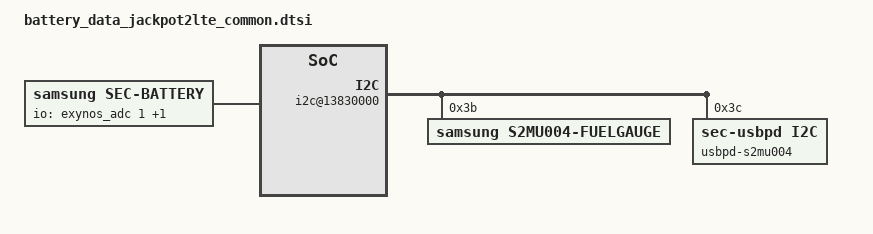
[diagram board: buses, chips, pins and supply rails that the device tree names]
/*
 * Jackpot2 Battery parameters device tree file for board IDs 04 and higher
 *
 * Copyright (C) 2017 Samsung Electronics, Inc.
 *
 * This program is free software; you can redistribute it and/or
 * modify it under the terms of the GNU General Public License
 * as published by the Free Software Foundation; either version 2
 * of the License, or (at your option) any later version.
 *
 * This program is distributed in the hope that it will be useful,
 * but WITHOUT ANY WARRANTY; without even the implied warranty of
 * MERCHANTABILITY or FITNESS FOR A PARTICULAR PURPOSE.  See the
 * GNU General Public License for more details.
 *
 * You should have received a copy of the GNU General Public License
 * along with this program. If not, see <http://www.gnu.org/licenses/>.
 *
 */

/ {
	pinctrl@11CB0000 {
		fuel_irq: fuel-irq {
			samsung,pins = "gpa2-4";
			samsung,pin-function = <0>;
			samsung,pin-pud = <2>;
			samsung,pin-drv = <0>;
		};

		if_pmic_irq: if-pmic-irq {
			samsung,pins = "gpa2-2";
			samsung,pin-function = <0>;
			samsung,pin-pud = <0>;
			samsung,pin-drv = <0>;
		};

		usbpd_irq: usbpd-irq {
			samsung,pins = "gpa2-3";
			samsung,pin-function = <0x0f>;
			samsung,pin-pud = <0>;
			samsung,pin-drv = <0>;
		};
	};

	i2c@13830000 {
		i2c-gpio,delay-us = <5>;
		status = "okay";
		s2mu004-fuelgauge@3B {
			compatible = "samsung,s2mu004-fuelgauge";
			reg = <0x3B>;
			pinctrl-names = "default";
			pinctrl-0 = <&fuel_irq>;
			fuelgauge,fuel_int = <&gpa2 4 0>;
			fuelgauge,fuel_alert_soc = <1>;
			fuelgauge,fuel_alert_vol = <3300>;
			fuelgauge,low_temp_limit = <100>;
			fuelgauge,sw_vbat_l_recovery_vol = <3465>;
			fuelgauge,capacity_max = <1000>;
			fuelgauge,capacity_max_margin = <200>;
			fuelgauge,capacity_min = <0>;
			fuelgauge,capacity_calculation_type = <28>;
			fuelgauge,capacity_full = <3500>;
			fuelgauge,type_str = "SDI";
			fuelgauge,model_type = <1>;
			fuelgauge,fg_log_enable = <1>;
		};

		usbpd-s2mu004@3C {
			compatible = "sec-usbpd,i2c";
			reg = <0x3C>;
			pinctrl-names = "default";
			pinctrl-0     = <&usbpd_irq>;
			usbpd,usbpd_int = <&gpa2 3 0>;
		};
	};

	battery_params {
			battery,battery_data =
				<
				/***** battery data for 4.35 *****/
				/* battery,battery_table3 */
				141 11 1 11 117 10 234 9 117 9
				8 9 160 8 48 8 196 7 140 7 51
				7 215 6 160 6 119 6 88 6 63 6
				36 6 252 5 198 5 149 5 255 4
				153 1 240 8 129 8 19 8 164 7
				53 7 199 6 88 6 233 5 123 5
				12 5 157 4 47 4 192 3 81 3
				227 2 116 2 5 2 151 1 40 1
				185 0 75 0 220 15

				/* battery,battery_table4 */
				52 52 52 52 52 52 51 52 52 51
				51 51 52 52 54 54 56 58 61 68
				79 138

				/* battery,batcap */
				0xC8 0x32 0xB2 0x0C /* [0x0E] [0x0F] [0x10] [0x11] */
				/* battery,accum */
				0x8 0x05 /* [0x45] [0x44] */

				/* battery,soc_arr_val */
				11172 10631 10091 9551 9010 8470 7930 7389 6848	6309 
				5768 5228 4688 4147 3607 3066 2526 1986 1446 905 
				365 (-175)

				/* battery,ocv_arr_val */
				44438 43755 43072 42394 41823 41287 40781 40236	39707 39432
				38999 38552 38279 38083 37930 37808	37675 37483 37218 36976
				36245 31999

				/***** battery data for 4.33 *****/
				/* battery,battery_table3 */
				172 11 27 11 138 10 250 9 130 9
				18 9 169 8 65 8 200 7 144 7
				57 7 220 6 161 6 120 6 88 6
				64 6 37 6 0 6 203 5 151 5
				58 5 182 1 226 8 115 8 5 8
				150 7 39 7 185 6 74 6 220 5
				109 5 255 4 144 4 33 4 179 3
				68 3 214 2 103 2 249 1 138 1
				27 1 173 0 62 0 208 15

				/* battery,battery_table4 */
				53 53 53 53 53 53 52 53 53 52
				52 52 53 53 54 55 55 57 60 64
				75 154

				/* battery,batcap */
				0x18 0x33 0xC6 0x0C /* [0x0E] [0x0F] [0x10] [0x11] */
				/* battery,accum */
				0x7 0xCA /* [0x45] [0x44] */

				/* battery,soc_arr_val */
				11103 10563 10023 9483 8943 8403 7863 7322 6783 6243
				5703 5163 4624 4084 3544 3004 2464 1923 1384 844
				304 (-236)
				/* battery,ocv_arr_val */
				44589 43881 43172 42471 41887 41338 40824 40317 39729 39454
				39029 38575 38284 38084 37931 37813 37680 37498 37243 36986
				36533 32140
		
				/***** battery data for 4.31 *****/
				/* battery,battery_table3 */
				172 11 27 11 138 10 250 9 130 9
				18 9 169 8 65 8 200 7 144 7
				57 7 220 6 161 6 120 6 88 6
				64 6 37 6 0 6 203 5 150 5
				58 5 182 1 4 9 148 8 36 8
				179 7 67 7 211 6 99 6 242 5
				130 5 18 5 162 4 49 4 193 3
				81 3 225 2 112 2 0 2 144 1
				32 1 175 0 63 0 207 15

				/* battery,battery_table4 */
				53 53 53 53 53 53 52 53 53 52
				52 52 53 53 54 55 55 57 60 64
				75 154

				/* battery,batcap */
				0x64 0x32 0x99 0x0C /* [0x0E] [0x0F] [0x10] [0x11] */
				/* battery,accum */
				0x7 0xCA /* [0x45] [0x44] */

				/* battery,soc_arr_val */
				11270 10722 10174 9626 9078 8530 7982 7433 6885 6337
				5789 5241 4693 4145 3597 3049 2500 1952 1404 856
				308 (-240)
				/* battery,ocv_arr_val */
				44589 43881 43173 42472 41887 41337 40824 40317 39729 39454
				39029 38575 38284 38084 37931 37813 37680 37498 37243 36985
				36532 32140

				/***** battery data for 4.29 *****/
				/* battery,battery_table3 */
				172 11 27 11 137 10 250 9 130 9
				18 9 169 8 65 8 200 7 144 7
				57 7 220 6 161 6 120 6 88 6
				64 6 37 6 0 6 203 5 151 5
				58 5 182 1 39 9 181 8 67 8
				209 7 95 7 237 6 123 6 10 6
				152 5 38 5 180 4 66 4 208 3
				94 3 236 2 122 2 8 2 150 1
				36 1 178 0 64 0 206 15

				/* battery,battery_table4 */
				53 53 53 53 53 53 52 53 53 52
				52 52 53 53 54 55 55 57 60 64
				75 154

				/* battery,batcap */
				0xB0 0x31 0x6C 0x0C /* [0x0E] [0x0F] [0x10] [0x11] */
				/* battery,accum */
				0x7 0xCA /* [0x45] [0x44] */

				/* battery,soc_arr_val */
				11440 10885 10329 9772 9216 8659 8103 7547 6990 6434
				5877 5321 4765 4208 3652 3095 2539 1983 1426 869
				313 (-243)

				/* battery,ocv_arr_val */
				44591 43881 43171 42471 41886 41337 40824 40317 39729 39454
				39029 38575 38284 38084 37931 37813 37680 37498 37243 36986
				36533 32140

				/***** battery data for 4.24 *****/
				/* battery,battery_table3 */
				172 11 27 11 137 10 250 9 130 9
				18 9 169 8 65 8 200 7 144 7
				57 7 220 6 161 6 120 6 88 6
				64 6 37 6 0 6 203 5 150 5
				58 5 182 1 102 9 241 8 124 8
				7 8 146 7 29 7 168 6 51 6
				190 5 73 5 212 4 95 4 234 3
				117 3 0 3 139 2 22 2 161 1
				44 1 183 0 66 0 205 15

				/* battery,battery_table4 */
				53 53 53 53 53 53 52 53 53 52
				52 52 53 53 54 55 55 57 60 64
				75 154

				/* battery,batcap */
				0xA8 0x2F 0xEA 0x0B/* [0x0E] [0x0F] [0x10] [0x11] */
				/* batteryaccum */
				0x7 0xCA /* [0x45] [0x44] */

				/* batterysoc_arr_val */
				11746 11175 10604 10032 9461 8890 8319 7747 7176 6605
				6034 5463 4891 4320 3749 3177 2606 2034 1464 893
				320 (-250)

				/* batteryocv_arr_val */
				44591 43881 43171 42471 41886 41337 40824 40317 39729 39453
				39029 38575 38284 38084 37931 37813 37680 37498 37243 36985
				36532 32140
				>;

			battery,battery_table3 = <
					141 11 1 11 117 10 234 9 117 9
					8 9 160 8 48 8 196 7 140 7 51
					7 215 6 160 6 119 6 88 6 63 6
					36 6 252 5 198 5 149 5 255 4
					153 1 240 8 129 8 19 8 164 7
					53 7 199 6 88 6 233 5 123 5
					12 5 157 4 47 4 192 3 81 3
					227 2 116 2 5 2 151 1 40 1
					185 0 75 0 220 15
					>;

			battery,battery_table4 = <
					52 52 52 52 52 52 51 52 52 51
					51 51 52 52 54 54 56 58 61 68
					79 138
					>;

			battery,batcap = <0xC8 0x32 0xB2 0x0C>; /* [0x0E] [0x0F] [0x10] [0x11] */
			battery,accum = <0x8 0x05>; /* [0x45] [0x44] */

			battery,soc_arr_val = <
					11172 10631 10091 9551 9010 8470 7930 7389 6848 6309
					5768 5228 4688 4147 3607 3066 2526 1986 1446 905
					365 (-175)
					>;
			battery,ocv_arr_val = <
					44438 43755 43072 42394 41823 41287 40781 40236 39707 39432
					38999 38552 38279 38083 37930 37808	37675 37483 37218 36976
					36245 31999
					>;
	};

	pdic-manager {
		/* sink */
		pdic,max_power = <5000>;
		pdic,op_power = <2500>;
		pdic,max_voltage = <6000>;
		pdic,max_current = <2000>;
		pdic,min_current = <500>;

		pdic,giveback = <0>;
		pdic,usb_com_capable = <1>;
		pdic,no_usb_suspend = <1>;

		/* source */
		source,max_voltage = <5000>;
		source,min_voltage = <4000>;
		source,max_power = <2500>;

		/* sink cap */
		sink,capable_max_voltage = <9000>;
	};

	battery {
		status = "okay";
		compatible = "samsung,sec-battery";

		pinctrl-names = "default";

		battery,vendor = "Battery";
		battery,charger_name = "s2mu004-charger";
		battery,fuelgauge_name = "s2mu004-fuelgauge";
		battery,technology = <2>; /* POWER_SUPPLY_TECHNOLOGY_LION */
		battery,fgsrc_switch_name = "s2mu004-fuelgauge"; /* Fuelgauge voltage source */

		battery,batt_data_version = <6>;

		battery,chip_vendor = "LSI";
		battery,temp_adc_type = <1>; /* SEC_BATTERY_ADC_TYPE_AP */

		battery,temp_check_type = <2>; /* SEC_BATTERY_TEMP_CHECK_TEMP */
		battery,chg_temp_check = <1>;

		battery,thermal_source = <2>; /* SEC_BATTERY_THERMAL_SOURCE_ADC */
		battery,chg_thermal_source = <2>; /* SEC_CHARGER_THERMAL_SOURCE_FG */

		battery,polling_time = <10 30 30 30 3600>;

		battery,temp_table_adc = <
					319 431 470 686 726 743 827 852 908 967 
					1035 1091 1157 1217 1400 1612 1824 2057 2301 2536 
					2755 2831 2959 3012 3102 3154 3176 3229 3284 3371 
					3440 3559 3676
					>;
		battery,temp_table_data = <
					900 800 750 650 620 600 580 570 550 530
					510 490 470 450 400 350 300 250 200 150
					100 80 50 30 10 0 (-10) (-30) (-50) (-70)
					(-100) (-150) (-200)
					>;

		battery,inbat_voltage = <1>;

		battery,inbat_voltage_table_adc = <2823 2803 2775 2748 2719 2695 2668 2638 2609 2582
						2551 2524 2496 2469 2442 2416 2390 2362 2333 2303 2275>;
		battery,inbat_voltage_table_data = <4385 4355 4305 4255 4205 4155 4105 4055 4005 3955
						3905 3855 3805 3755 3705 3655 3605 3555 3505 3455 3405>;

		battery,adc_check_count = <5>;

		battery,cable_check_type = <4>; /* SEC_BATTERY_CABLE_CHECK_PSY */
		battery,cable_source_type = <1>; /* SEC_BATTERY_CABLE_SOURCE_EXTERNAL */
		battery,polling_type = <1>; /* SEC_BATTERY_MONITOR_ALARM */
		battery,monitor_initial_count = <0>;

		battery,pre_afc_input_current = <500>;

		battery,battery_check_type = <0>; /* SEC_BATTERY_CHECK_NONE */
		battery,check_count = <0>;
		battery,check_adc_max = <1440>;
		battery,check_adc_min = <0>;

		battery,ovp_uvlo_check_type = <3>; /* SEC_BATTERY_OVP_UVLO_CHGPOLLING */

		battery,temp_check_count = <1>;
		battery,temp_highlimit_threshold_event = <800>;
		battery,temp_highlimit_recovery_event = <750>;
		battery,temp_high_threshold_event = <500>;
		battery,temp_high_recovery_event = <450>;
		battery,temp_low_threshold_event = <0>;
		battery,temp_low_recovery_event = <50>;
		battery,temp_highlimit_threshold_normal = <800>;
		battery,temp_highlimit_recovery_normal = <750>;
		battery,temp_high_threshold_normal = <500>;
		battery,temp_high_recovery_normal = <450>;
		battery,temp_low_threshold_normal = <0>;
		battery,temp_low_recovery_normal = <50>;
		battery,temp_highlimit_threshold_lpm = <800>;
		battery,temp_highlimit_recovery_lpm = <750>;
		battery,temp_high_threshold_lpm = <500>;
		battery,temp_high_recovery_lpm = <450>;
		battery,temp_low_threshold_lpm = <0>;
		battery,temp_low_recovery_lpm = <50>;
		battery,wpc_high_threshold_normal = <450>;
		battery,wpc_high_recovery_normal = <400>;
		battery,wpc_low_threshold_normal = <0>;
		battery,wpc_low_recovery_normal = <50>;

		battery,full_check_type = <2>; /* SEC_BATTERY_FULLCHARGED_FG_CURRENT */
		battery,full_check_type_2nd = <2>; /* SEC_BATTERY_FULLCHARGED_FG_CURRENT */
		battery,full_check_count = <1>;
		battery,chg_gpio_full_check = <0>;
		battery,chg_polarity_full_check = <1>;

		battery,chg_heating_prevention_method = <1>; /* SEC_BATTERY_BY_CHANGING_CURRENT */
		battery,chg_high_temp = <460>;
		battery,chg_high_temp_recovery = <440>;
		battery,chg_input_limit_current = <1000>;
		battery,chg_charging_limit_current = <1250>; 

		battery,wpc_high_temp = <410>;
		battery,wpc_high_temp_recovery = <400>;
		battery,wpc_charging_limit_current = <450>;
		battery,wpc_lcd_on_high_temp = <430>;
		battery,wpc_lcd_on_high_temp_rec = <300>;

		battery,wpc_store_high_temp = <410>;
		battery,wpc_store_high_temp_recovery = <400>;
		battery,wpc_store_lcd_on_high_temp = <380>;
		battery,wpc_store_lcd_on_high_temp_rec = <300>;

		battery,sleep_mode_limit_current = <500>;
		battery,wc_full_input_limit_current = <100>;
		battery,wc_cv_current = <820>;
		battery,wc_cv_pack_current = <630>;
		battery,wc_hero_stand_cc_cv = <70>;
		battery,wc_hero_stand_cv_current = <600>;
		battery,wc_hero_stand_hv_cv_current = <450>;

		battery,mix_high_temp = <420>;
		battery,mix_high_chg_temp = <500>;
		battery,mix_high_temp_recovery = <390>;

		/*
		 * SEC_BATTERY_FULL_CONDITION_SOC |
		 * SEC_BATTERY_FULL_CONDITION_NOTIMEFULL |
		 * SEC_BATTERY_FULL_CONDITION_VCELL
		 */
		battery,full_condition_type = <13>;
		battery,full_condition_soc = <93>;
		battery,full_condition_vcell = <4250>;

		battery,recharge_check_count = <1>;
		battery,recharge_condition_type = <4>; /* SEC_BATTERY_RECHARGE_CONDITION_VCELL */
		battery,recharge_condition_soc = <98>;
		battery,recharge_condition_vcell = <4280>;

		battery,charging_total_time = <14400>;
		battery,hv_charging_total_time = <10800>;
		battery,normal_charging_total_time = <18000>;
		battery,usb_charging_total_time = <36000>;
		battery,recharging_total_time = <5400>;
		battery,charging_reset_time = <0>;

		battery,chg_float_voltage = <4350>;

		battery,swelling_high_temp_block = <410>;
		battery,swelling_high_temp_recov = <390>;
		battery,swelling_wc_high_temp_recov = <390>;
		battery,swelling_low_temp_block_1st = <150>;
		battery,swelling_low_temp_recov_1st = <200>;
		battery,swelling_low_temp_block_2nd = <50>;
		battery,swelling_low_temp_recov_2nd = <100>;

		battery,swelling_low_temp_current = <850>;	/* 0.3C */
		battery,swelling_low_temp_topoff = <175>;	/* 0.05C */
		battery,swelling_high_temp_current = <1250>;	/* 0.45C */
		battery,swelling_high_temp_topoff = <175>;	/* 0.05C */
		battery,swelling_wc_high_temp_current = <850>;	/* 0.3C */
		battery,swelling_wc_low_temp_current = <850>;	/* 0.3C */

		battery,swelling_drop_float_voltage = <4150>;
		battery,swelling_high_rechg_voltage = <4000>;
		battery,swelling_low_rechg_voltage = <4000>;

		battery,siop_event_check_type = <1>;
		battery,siop_call_cv_current = <330>;
		battery,siop_call_cc_current = <330>;

		battery,siop_input_limit_current = <1200>;
		battery,siop_charging_limit_current = <1000>;
		battery,siop_hv_input_limit_current = <700>;
		battery,siop_hv_charging_limit_current = <1000>;

		battery,siop_wireless_input_limit_current = <600>;
		battery,siop_wireless_charging_limit_current = <700>;
		battery,siop_hv_wireless_input_limit_current = <600>;
		battery,siop_hv_wireless_charging_limit_current = <700>;
		battery,siop_store_hv_wireless_input_limit_current = <450>;

		battery,ttf_hv_charge_current = <2500>;
		battery,ttf_hv_wireless_charge_current = <1050>;
		battery,ttf_wireless_charge_current = <900>;

		battery,pd_charging_charge_power = <15000>;
		battery,max_charging_current = <2500>;
		battery,battery_full_capacity = <3500>;

		/* cycle, chg_float_voltage, recharge_condition_vcell, full_condition_vcell, full_condition_soc */
		battery,age_data = <0 4350 4280 4250 93	/*4.35*/
				200 4330 4260 4230 92	/*4.33*/
				250 4310 4240 4210 91	/*4.31*/
				300 4290 4220 4190 90	/*4.29*/
				1000 4240 4170 4140 89	/*4.24*/
				>;

		battery,max_input_voltage = <9000>; /* mV */
		battery,max_input_current = <3000>;  /* mA */

		battery,prepare_afc_delay = <0>;

		battery,enable_water_resistance;

		battery,standard_curr = <2500>;
		battery,expired_time = <10200>; /* 110 + 60 minutes */
		battery,recharging_expired_time = <5400>;

		battery,cisd_max_voltage_thr = <5000>; /* battery ovp detection voltage */

		battery,cisd_alg_index = <7>;

		io-channels = <&exynos_adc 1>, <&exynos_adc 2>;
		io-channel-names = "adc-temp", "adc-in-bat";
		#io-channel-cells = <5>;
		io-channel-ranges;
	};

/* sec_battery_cable
 *   0	UNKNOWN,
 *   1	NONE,
 *   2	PREPARE_TA,
 *   3	TA,
 *   4	USB,
 *   5	USB_CDP,
 *   6	9V_TA,
 *   7	9V_ERR,
 *   8	9V_UNKNOWN,
 *   9	12V_TA,
 *  10	WIRELESS,
 *  11	HV_WIRELESS,
 *  12	PMA_WIRELESS,
 *  13	WIRELESS_PACK,
 *  14	WIRELESS_PACK_TA,
 *  15	WIRELESS_STAND,
 *  16	WIRELESS_HV_STAND,
 *  17	QC20,
 *  18	QC30,
 *  19	PDIC,
 *  20	UARTOFF,
 *  21	OTG,
 *  22	LAN_HUB,
 *  23	POWER_SHARING,
 *  24	HMT_CONNECTED,
 *  25	HMT_CHARGE,
 *  26	HV_TA_CHG_LIMIT,
 *  27	WIRELESS_VEHICLE,
 *  28	WIRELESS_HV_VEHICLE,
 *  29	PREPARE_WIRELESS_HV,
 *  30	TIMEOUT,
 *  31	CABLE_MAX,
 */
	cable-info {
		default_input_current = <1800>;
		default_charging_current = <2100>;
		full_check_current_1st = <350>;
		full_check_current_2nd = <175>;

		current_group_1 {
			cable_number = <1 4 19 21 22 23 30>;
			input_current = <500>;
			charging_current = <500>;
		};

		current_group_2 {
			cable_number = <2 25>;
			input_current = <1000>;
			charging_current = <1000>;
		};

		current_group_3 {
			cable_number = <5>;
			input_current = <1500>;
			charging_current = <1500>;
		};

		current_group_4 {
			cable_number = <6 7 8>;
			input_current = <1650>;
			charging_current = <2500>;
		};

		current_group_5 {
			cable_number = <9>;
			input_current = <1650>;
			charging_current = <2500>;
		};

		current_group_6 {
			cable_number = <10 12 14 15 27>;
			input_current = <900>;
			charging_current = <1200>;
		};

		current_group_7 {
			cable_number = <13>;
			input_current = <700>;
			charging_current = <1200>;
		};

		current_group_8 {
			cable_number = <24>;
			input_current = <1000>;
			charging_current = <450>;
		};

		current_group_9 {
			cable_number = <26>;
			input_current = <2000>;
			charging_current = <1800>;
		};

		current_group_10 {
			cable_number = <11 16 28>;
			input_current = <650>;
			charging_current = <1200>;
		};

		current_group_11 {
			cable_number = <29>;
			input_current = <500>;
			charging_current = <1200>;
		};
	};

	s2mu004-charger {
		status = "disable";
		compatible = "samsung,s2mu004-charger";
	};
};
